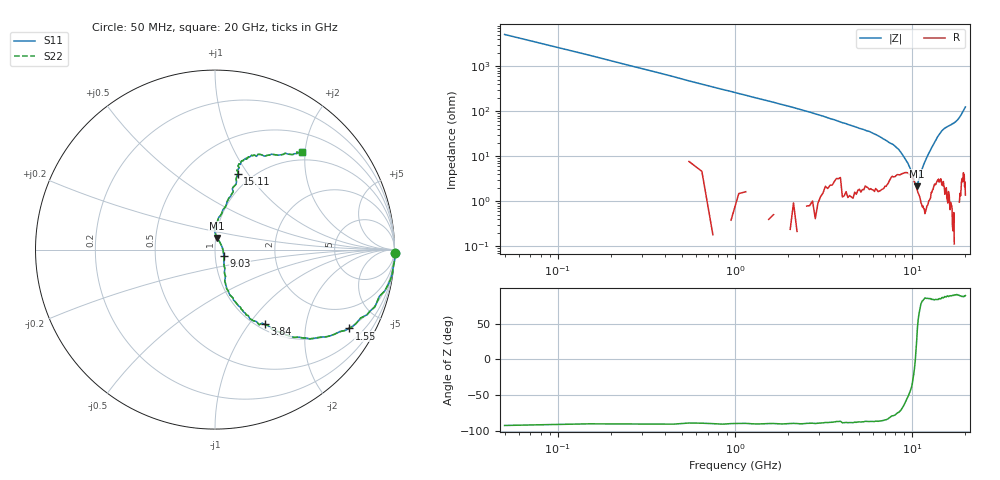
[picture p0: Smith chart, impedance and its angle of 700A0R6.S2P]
!  American Technical Ceramics  Date:  11/13/98
!  One Norden Lane
!  Huntington Station,  NY.  11746-2102
!  Tel:  (516) 547-5700  Fax:  (516) 547-5748
!  Part Number  700A0R6
!  Description: NPO, High Q, Temperature Stable
!  Application: Bypass, Coupling, Timing
!  Tuning, Blocking
# GHZ S DB R 50
! Freq  |S11|  S11 Ph  |S21|  S21 Ph  |S12|  S12 Ph  |S22|  S22 Ph
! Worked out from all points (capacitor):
!   201 points, 50 MHz to 20 GHz, reference 50 ohm
!   read as one part in series: C = 598 fF near 150 MHz
!   lowest |Z| = 2.16 ohm at 10.62 GHz (marker M1)
!   series resonance near 10.44 GHz, so ESL is about 390 pH
!   S11 on the Smith chart (normalised r, x): 50 MHz: open; 1.55 GHz: 0.97, -3.42; 3.84 GHz: 1.08, -1.19; 9.03 GHz: 1.10, -0.08; 15.11 GHz: 0.86, +0.90; 20 GHz: 0.83, +1.93
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0.05  0.02 -1.1  -34.15 91.4  -34.15 91.4  0.02 -1.1
0.15  0.03 -3.2  -24.95 87.1  -24.95 87.1  0.03 -3.2
0.25  -0.02 -5.5  -20.53 84.9  -20.53 84.9  -0.02 -5.5
0.45  -0.07 -9.7  -15.49 81.0  -15.49 81.0  -0.07 -9.7
0.65  -0.23 -13.7  -12.30 75.6  -12.30 75.6  -0.23 -13.7
0.95  -0.49 -19.8  -9.32 70.0  -9.32 70.0  -0.49 -19.8
1.55  -1.24 -30.4  -5.81 59.3  -5.81 59.3  -1.24 -30.4
2.34  -2.64 -42.1  -3.40 48.1  -3.40 48.1  -2.64 -42.1
3.44  -5.07 -53.6  -1.81 34.5  -1.81 34.5  -5.07 -53.6
3.84  -6.03 -56.5  -1.55 30.7  -1.55 30.7  -6.03 -56.5
4.64  -7.40 -63.3  -0.91 24.7  -0.91 24.7  -7.40 -63.3
6.73  -12.38 -72.3  -0.46 14.6  -0.46 14.6  -12.38 -72.3
7.93  -16.78 -68.3  -0.45 10.8  -0.45 10.8  -16.78 -68.3
9.03  -24.33 -35.9  -0.35 7.2  -0.35 7.2  -24.33 -35.9
9.53  -27.35 3.4  -0.33 5.8  -0.33 5.8  -27.35 3.4
10.03  -26.87 47.8  -0.28 4.4  -0.28 4.4  -26.87 47.8
10.62  -23.57 80.7  -0.23 2.7  -0.23 2.7  -23.57 80.7
13.42  -12.12 76.2  -0.48 -8.4  -0.48 -8.4  -12.12 76.2
15.11  -7.11 73.3  -1.26 -15.3  -1.26 -15.3  -7.11 73.3
16.71  -5.63 72.4  -1.76 -19.0  -1.76 -19.0  -5.63 72.4
18.01  -4.87 67.4  -2.33 -26.6  -2.33 -26.6  -4.87 67.4
20  -2.75 48.5  -5.42 -44.2  -5.42 -44.2  -2.75 48.5
